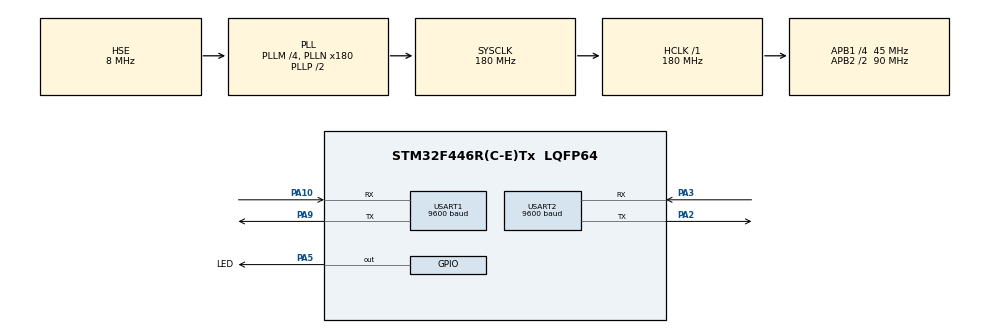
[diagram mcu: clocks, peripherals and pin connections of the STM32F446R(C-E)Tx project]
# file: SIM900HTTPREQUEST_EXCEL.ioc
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Mcu.Family=STM32F4
Mcu.Name=STM32F446R(C-E)Tx
Mcu.Package=LQFP64
NVIC.PriorityGroup=NVIC_PRIORITYGROUP_0
NVIC.TIM1_UP_TIM10_IRQn=true\:0\:0\:false\:false\:true\:true\:true\:true
NVIC.USART1_IRQn=true\:0\:0\:false\:false\:true\:true\:true\:true
NVIC.USART2_IRQn=true\:0\:0\:false\:false\:true\:true\:true\:true
PA10.Mode=Asynchronous
PA10.Signal=USART1_RX
PA2.Mode=Asynchronous
PA2.Signal=USART2_TX
PA3.Mode=Asynchronous
PA3.Signal=USART2_RX
PA5.GPIO_Label=LED
PA5.Signal=GPIO_Output
PA9.Mode=Asynchronous
PA9.Signal=USART1_TX
PC14-OSC32_IN.Mode=LSE-External-Oscillator
PC14-OSC32_IN.Signal=RCC_OSC32_IN
PC15-OSC32_OUT.Mode=LSE-External-Oscillator
PC15-OSC32_OUT.Signal=RCC_OSC32_OUT
PH0-OSC_IN.Mode=HSE-External-Oscillator
PH0-OSC_IN.Signal=RCC_OSC_IN
PH1-OSC_OUT.Mode=HSE-External-Oscillator
PH1-OSC_OUT.Signal=RCC_OSC_OUT
ProjectManager.HeapSize=0x200
ProjectManager.StackSize=0x400
ProjectManager.TargetToolchain=STM32CubeIDE
RCC.48MHZClocksFreq_Value=84000000
RCC.AHBFreq_Value=180000000
RCC.APB1CLKDivider=RCC_HCLK_DIV4
RCC.APB1Freq_Value=45000000
RCC.APB1TimFreq_Value=90000000
RCC.APB2CLKDivider=RCC_HCLK_DIV2
RCC.APB2Freq_Value=90000000
RCC.APB2TimFreq_Value=180000000
RCC.CortexFreq_Value=180000000
RCC.FLatency-AdvancedSettings=FLASH_LATENCY_5
RCC.HCLKFreq_Value=180000000
RCC.HSE_VALUE=8000000
RCC.HSI_VALUE=16000000
RCC.PLLM=4
RCC.PLLN=180
RCC.PLLSourceVirtual=RCC_PLLSOURCE_HSE
RCC.SYSCLKFreq_VALUE=180000000
RCC.SYSCLKSource=RCC_SYSCLKSOURCE_PLLCLK
RCC.USBFreq_Value=180000000
RCC.VCOOutputFreq_Value=360000000
TIM1.Period=1599
TIM1.Prescaler=9999
USART1.BaudRate=9600
USART1.VirtualMode=VM_ASYNC
USART2.BaudRate=9600
USART2.VirtualMode=VM_ASYNC
VP_TIM1_VS_ClockSourceINT.Mode=Internal
board=NUCLEO-F446RE

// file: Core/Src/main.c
/* USER CODE BEGIN Header */
/**
 ******************************************************************************
 * @file           : main.c
 * @brief          : Main program body
 ******************************************************************************
 * @attention
 *
 * Copyright (c) 2022 STMicroelectronics.
 * All rights reserved.
 *
 * This software is licensed under terms that can be found in the LICENSE file
 * in the root directory of this software component.
 * If no LICENSE file comes with this software, it is provided AS-IS.
 *
 ******************************************************************************
 */
/* USER CODE END Header */
#include "main.h"

/* USER CODE BEGIN Includes */
#include <string.h>
#include <stdlib.h>
#include <stdio.h>
/* USER CODE END Includes */

/* USER CODE BEGIN PD */
#define test           "AT\r\n"
#define SetAPN         "AT+SAPBR=3,1,\"APN\",\"www.safaricom.com\"\r\n"
#define ActGPRS        "AT+SAPBR =1,1\r\n"
#define  GetIP         "AT+SAPBR=2,1\r\n"
#define  ConnectIP     "AT+CGATT=1\r\n"
#define  InitHTTP      "AT+HTTPINIT\r\n"
#define  EnableHTTPS   "AT+HTTPSSL=1\r\n"
#define  SetCIDPAR     "AT+HTTPPARA= \"CID\",1\r\n"
#define  SetURL        "AT+HTTPPARA=\"URL\",\"https://script.google.com/macros/s/{SCRIPT ID}/exec?data=30\"\r\n"
#define  HTTPOST       "AT+HTTPACTION=0\r\n"
#define  HTTPResponse  "AT+HTTPREAD\r\n"
#define  TERMINATEHTTP "AT+HTTPTERM\r\n"

/* USER CODE END PD */

TIM_HandleTypeDef htim1;

UART_HandleTypeDef huart1;
UART_HandleTypeDef huart2;

/* USER CODE BEGIN PV */
extern int Timer_count;
extern int n;
extern char buffer2[2000];

/* USER CODE END PV */

void SystemClock_Config(void);
static void MX_GPIO_Init(void);
static void MX_USART2_UART_Init(void);
static void MX_USART1_UART_Init(void);
static void MX_TIM1_Init(void);
/* USER CODE BEGIN PFP */
void SendCommand(char *Command,char *response);
/* USER CODE END PFP */

int main(void)
{

	/* MCU Configuration--------------------------------------------------------*/

	/* Reset of all peripherals, Initializes the Flash interface and the Systick. */
	HAL_Init();

	/* Configure the system clock */
	SystemClock_Config();

	/* Initialize all configured peripherals */
	MX_GPIO_Init();
	MX_USART2_UART_Init();
	MX_USART1_UART_Init();
	MX_TIM1_Init();
	/* USER CODE BEGIN 2 */
	HAL_TIM_Base_Start_IT(&htim1);
	SendCommand(test,"OK\r\n");
	HAL_Delay(1000);
	SendCommand(SetAPN,"OK\r\n");
	HAL_Delay(1000);
	SendCommand(ActGPRS,"OK\r\n");
	HAL_Delay(1000);
	SendCommand(GetIP,"OK\r\n");
	HAL_Delay(1000);
	SendCommand(ConnectIP,"OK\r\n");
	HAL_Delay(1000);

	/* USER CODE END 2 */

	/* Infinite loop */
	while (1)
	{

		/* USER CODE BEGIN 3 */
		SendCommand(InitHTTP,"OK\r\n");
		SendCommand(EnableHTTPS,"OK\r\n");
		SendCommand(SetCIDPAR,"OK\r\n");
		SendCommand(SetURL,"OK\r\n");
		SendCommand(HTTPOST,"+HTTPACTION:");
		SendCommand(HTTPResponse,"OK\r\n");
		SendCommand(TERMINATEHTTP,"OK\r\n");
		HAL_Delay(1000);
	}
	/* USER CODE END 3 */
}

void SystemClock_Config(void)
{
	RCC_OscInitTypeDef RCC_OscInitStruct = {0};
	RCC_ClkInitTypeDef RCC_ClkInitStruct = {0};

	/** Configure the main internal regulator output voltage
	 */
	__HAL_RCC_PWR_CLK_ENABLE();
	__HAL_PWR_VOLTAGESCALING_CONFIG(PWR_REGULATOR_VOLTAGE_SCALE1);

	/** Initializes the RCC Oscillators according to the specified parameters
	 * in the RCC_OscInitTypeDef structure.
	 */
	RCC_OscInitStruct.OscillatorType = RCC_OSCILLATORTYPE_HSE;
	RCC_OscInitStruct.HSEState = RCC_HSE_ON;
	RCC_OscInitStruct.PLL.PLLState = RCC_PLL_ON;
	RCC_OscInitStruct.PLL.PLLSource = RCC_PLLSOURCE_HSE;
	RCC_OscInitStruct.PLL.PLLM = 4;
	RCC_OscInitStruct.PLL.PLLN = 180;
	RCC_OscInitStruct.PLL.PLLP = RCC_PLLP_DIV2;
	RCC_OscInitStruct.PLL.PLLQ = 2;
	RCC_OscInitStruct.PLL.PLLR = 2;
	if (HAL_RCC_OscConfig(&RCC_OscInitStruct) != HAL_OK)
	{
		Error_Handler();
	}

	/** Activate the Over-Drive mode
	 */
	if (HAL_PWREx_EnableOverDrive() != HAL_OK)
	{
		Error_Handler();
	}

	/** Initializes the CPU, AHB and APB buses clocks
	 */
	RCC_ClkInitStruct.ClockType = RCC_CLOCKTYPE_HCLK|RCC_CLOCKTYPE_SYSCLK
			|RCC_CLOCKTYPE_PCLK1|RCC_CLOCKTYPE_PCLK2;
	RCC_ClkInitStruct.SYSCLKSource = RCC_SYSCLKSOURCE_PLLCLK;
	RCC_ClkInitStruct.AHBCLKDivider = RCC_SYSCLK_DIV1;
	RCC_ClkInitStruct.APB1CLKDivider = RCC_HCLK_DIV4;
	RCC_ClkInitStruct.APB2CLKDivider = RCC_HCLK_DIV2;

	if (HAL_RCC_ClockConfig(&RCC_ClkInitStruct, FLASH_LATENCY_5) != HAL_OK)
	{
		Error_Handler();
	}
}

static void MX_TIM1_Init(void)
{

	TIM_ClockConfigTypeDef sClockSourceConfig = {0};
	TIM_MasterConfigTypeDef sMasterConfig = {0};

	htim1.Instance = TIM1;
	htim1.Init.Prescaler = 9999;
	htim1.Init.CounterMode = TIM_COUNTERMODE_UP;
	htim1.Init.Period = 1599;
	htim1.Init.ClockDivision = TIM_CLOCKDIVISION_DIV1;
	htim1.Init.RepetitionCounter = 0;
	htim1.Init.AutoReloadPreload = TIM_AUTORELOAD_PRELOAD_DISABLE;
	if (HAL_TIM_Base_Init(&htim1) != HAL_OK)
	{
		Error_Handler();
	}
	sClockSourceConfig.ClockSource = TIM_CLOCKSOURCE_INTERNAL;
	if (HAL_TIM_ConfigClockSource(&htim1, &sClockSourceConfig) != HAL_OK)
	{
		Error_Handler();
	}
	sMasterConfig.MasterOutputTrigger = TIM_TRGO_RESET;
	sMasterConfig.MasterSlaveMode = TIM_MASTERSLAVEMODE_DISABLE;
	if (HAL_TIMEx_MasterConfigSynchronization(&htim1, &sMasterConfig) != HAL_OK)
	{
		Error_Handler();
	}

}

static void MX_USART1_UART_Init(void)
{

	huart1.Instance = USART1;
	huart1.Init.BaudRate = 9600;
	huart1.Init.WordLength = UART_WORDLENGTH_8B;
	huart1.Init.StopBits = UART_STOPBITS_1;
	huart1.Init.Parity = UART_PARITY_NONE;
	huart1.Init.Mode = UART_MODE_TX_RX;
	huart1.Init.HwFlowCtl = UART_HWCONTROL_NONE;
	huart1.Init.OverSampling = UART_OVERSAMPLING_16;
	if (HAL_UART_Init(&huart1) != HAL_OK)
	{
		Error_Handler();
	}
	/* USER CODE BEGIN USART1_Init 2 */
	__HAL_UART_ENABLE_IT(&huart1,UART_IT_RXNE);

	/* USER CODE END USART1_Init 2 */

}

static void MX_USART2_UART_Init(void)
{

	huart2.Instance = USART2;
	huart2.Init.BaudRate = 9600;
	huart2.Init.WordLength = UART_WORDLENGTH_8B;
	huart2.Init.StopBits = UART_STOPBITS_1;
	huart2.Init.Parity = UART_PARITY_NONE;
	huart2.Init.Mode = UART_MODE_TX_RX;
	huart2.Init.HwFlowCtl = UART_HWCONTROL_NONE;
	huart2.Init.OverSampling = UART_OVERSAMPLING_16;
	if (HAL_UART_Init(&huart2) != HAL_OK)
	{
		Error_Handler();
	}
	/* USER CODE BEGIN USART2_Init 2 */
	__HAL_UART_ENABLE_IT(&huart2,UART_IT_RXNE);

	/* USER CODE END USART2_Init 2 */

}

static void MX_GPIO_Init(void)
{
	GPIO_InitTypeDef GPIO_InitStruct = {0};

	/* GPIO Ports Clock Enable */
	__HAL_RCC_GPIOC_CLK_ENABLE();
	__HAL_RCC_GPIOH_CLK_ENABLE();
	__HAL_RCC_GPIOA_CLK_ENABLE();

	/*Configure GPIO pin Output Level */
	HAL_GPIO_WritePin(LED_GPIO_Port, LED_Pin, GPIO_PIN_RESET);

	/*Configure GPIO pin : LED_Pin */
	GPIO_InitStruct.Pin = LED_Pin;
	GPIO_InitStruct.Mode = GPIO_MODE_OUTPUT_PP;
	GPIO_InitStruct.Pull = GPIO_NOPULL;
	GPIO_InitStruct.Speed = GPIO_SPEED_FREQ_LOW;
	HAL_GPIO_Init(LED_GPIO_Port, &GPIO_InitStruct);

}

/* USER CODE BEGIN 4 */
void HAL_TIM_PeriodElapsedCallback(TIM_HandleTypeDef *htim)
{
	if(HAL_GetTick()-Timer_count>10)
	{
		n=0;
	}
}

void SendCommand(char *Command,char *response)
{
	char *P={0};
	int q=0;
	char *err={0};
	HAL_UART_Transmit_IT(&huart1,(uint8_t*)Command,strlen(Command));
	while(*P!=response[0])
	{
		P=strstr(buffer2,response);
		err=strstr(buffer2,"ERROR\r\n");
		q++;
		if(*err=='E')
		{
			break;
		}
	}
	memset(buffer2,'\0',strlen(buffer2));
}
/* USER CODE END 4 */

void Error_Handler(void)
{
	__disable_irq();
	while (1)
	{
	}
}
